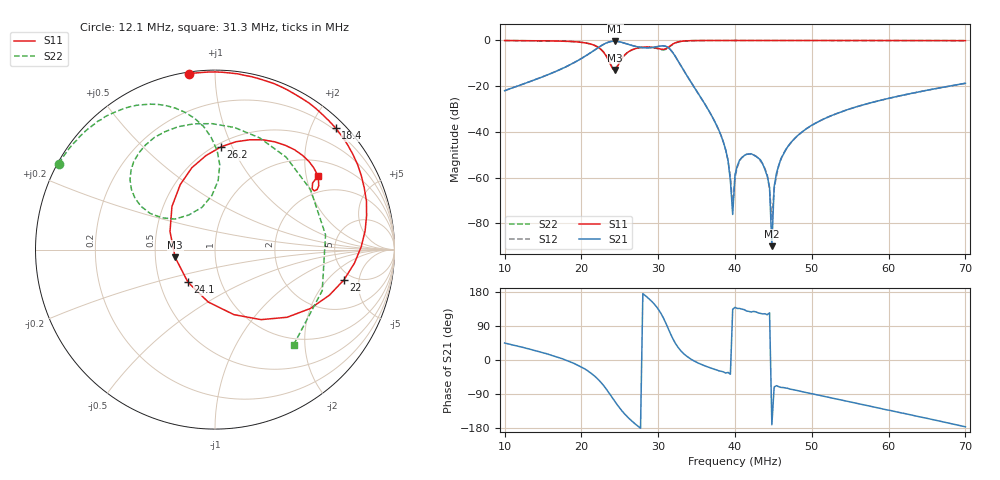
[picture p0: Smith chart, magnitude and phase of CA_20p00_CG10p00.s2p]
#  HZ  S  RI  R  50.00
! Rohde & Schwarz ZVT8 8Ports - Version 4.11 - 1300.0000k08 SN: 100242
! Date: 2026-07-31 14:23:47
! Measurements: S11 S21 S12 S22
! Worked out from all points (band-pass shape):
!   201 points, 10 MHz to 70 MHz, reference 50 ohm
!   highest |S21| = -0.33 dB at 24.4 MHz (marker M1); lowest = -90.0 dB at 44.8 MHz (marker M2)
!   |S21| within 3 dB of the highest: 22.1 MHz to 31.37 MHz (9.266 MHz wide, 34.7 % of centre)
!   lowest |S11| = -12.9 dB at 24.4 MHz (marker M3), VSWR 1.58, Z = 31.7 - j2.91 ohm
!   |S11| at or under -10 dB: 23.71 MHz to 24.91 MHz (1.195 MHz wide, 4.91 % of centre)
!   |S22| runs from -12.3 to 0.0 dB; largest |S21 - S12| = 0.0026
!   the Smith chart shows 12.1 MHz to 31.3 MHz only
!   S11 on the Smith chart (normalised r, x): 12.1 MHz: 0.01, +0.86; 18.4 MHz: 0.16, +2.40; 22 MHz: 4.23, -3.13; 24.1 MHz: 0.70, -0.27; 26.2 MHz: 0.53, +0.91; 31.3 MHz: 1.44, +2.35
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1e7  -0.3956 0.9141  0.0564 0.0562  0.0562 0.0562  -0.9158 0.392
1.21e7  -0.1453 0.9805  0.0877 0.0607  0.0875 0.0606  -0.8697 0.4794
1.84e7  0.6736 0.6758  0.2873 -0.0198  0.2862 -0.0191  -0.5869 0.7531
2.02e7  0.8313 0.3451  0.3946 -0.1505  0.3939 -0.1496  -0.4029 0.8073
2.2e7  0.7186 -0.1684  0.4474 -0.4907  0.4482 -0.4902  -0.1139 0.7315
2.41e7  -0.1514 -0.1807  -0.1962 -0.9409  -0.1958 -0.9404  -0.0724 0.2355
2.44e7  -0.2221 -0.0435  -0.3386 -0.9011  -0.3384 -0.9014  -0.1459 0.1929
2.62e7  0.0336 0.5726  -0.733 -0.3526  -0.7314 -0.3524  -0.4657 0.336
3.01e7  0.5692 0.3347  -0.4924 0.5586  -0.4924 0.5578  0.3962 0.5153
3.13e7  0.5739 0.4098  0.0825 0.6936  0.0818 0.694  0.4385 -0.5299
3.34e7  0.9528 0.205  0.2034 0.0554  0.2031 0.0551  -0.9287 -0.2855
3.85e7  0.845 -0.5312  0.00503 -0.00309  0.00494 -0.00307  -0.8359 0.5456
3.97e7  0.757 -0.651  -0.000108 0.000112  1.58e-05 0.000242  -0.7812 0.6199
4e7  0.7315 -0.6785  -0.000866 0.000754  -0.000724 0.000694  -0.7696 0.6364
4.33e7  0.4178 -0.9075  -0.00134 0.00206  -0.00125 0.00195  -0.6311 0.7731
4.45e7  0.286 -0.9558  -0.000345 0.000503  -0.000267 0.000484  -0.5831 0.8095
4.48e7  0.2529 -0.9654  -3.11e-05 -5.04e-06  -7.79e-05 9.17e-05  -0.5713 0.8178
4.51e7  0.2207 -0.974  0.000204 -0.000599  0.000141 -0.000547  -0.5598 0.8265
4.6e7  0.1211 -0.9907  0.000796 -0.00252  0.000839 -0.00239  -0.5242 0.8493
5.02e7  -0.346 -0.9365  6.59e-05 -0.0145  6.61e-05 -0.0146  -0.3597 0.9301
6.01e7  -0.9883 -0.1133  -0.0369 -0.0402  -0.0368 -0.0401  0.0281 0.9951
7e7  -0.5279 0.837  -0.1154 -0.00756  -0.1152 -0.00742  0.4122 0.9009
